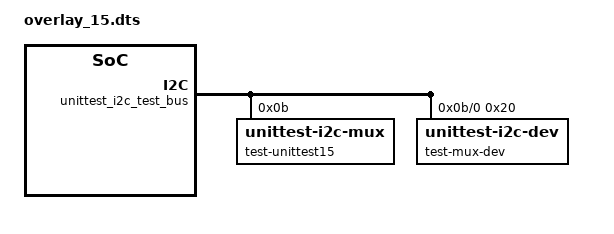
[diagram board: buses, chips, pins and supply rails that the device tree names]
// SPDX-License-Identifier: GPL-2.0
/dts-v1/;
/plugin/;

/* overlay_15 - mux overlay */

&unittest_i2c_test_bus {
	#address-cells = <1>;
	#size-cells = <0>;
	test-unittest15 {
		reg = <11>;
		compatible = "unittest-i2c-mux";
		status = "okay";

		#address-cells = <1>;
		#size-cells = <0>;

		i2c@0 {
			#address-cells = <1>;
			#size-cells = <0>;
			reg = <0>;

			test-mux-dev {
				reg = <32>;
				compatible = "unittest-i2c-dev";
				status = "okay";
			};
		};
	};
};
